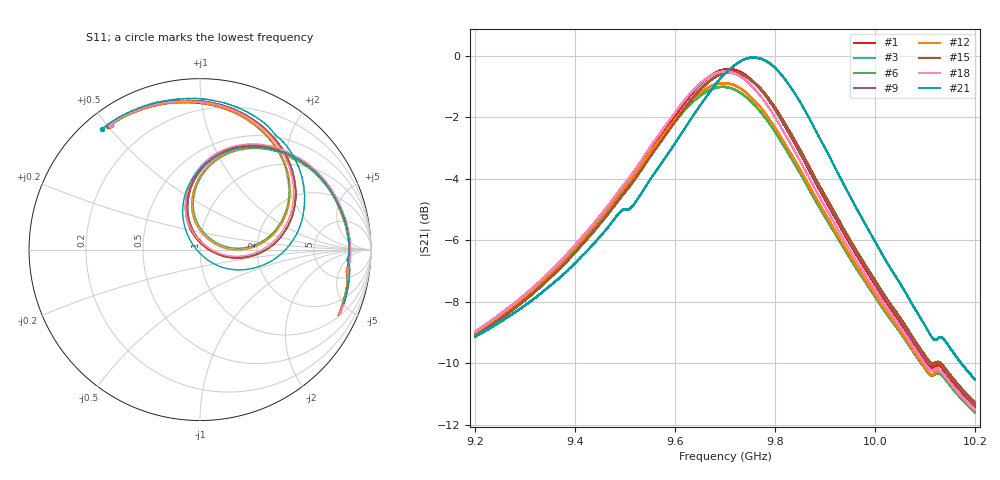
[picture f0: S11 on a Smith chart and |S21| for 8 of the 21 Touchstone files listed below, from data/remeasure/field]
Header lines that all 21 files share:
!Agilent Technologies,N5242A,MY51221714,A.09.90.19
!Agilent N5242A: A.09.90.19
!Correction: S11(Full 2 Port(1,2))
!S21(Full 2 Port(1,2))
!S12(Full 2 Port(1,2))
!S22(Full 2 Port(1,2))
!S2P File: Measurements: S11, S21, S12, S22:
# Hz S  dB  R 50
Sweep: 9.2 GHz to 10.2 GHz
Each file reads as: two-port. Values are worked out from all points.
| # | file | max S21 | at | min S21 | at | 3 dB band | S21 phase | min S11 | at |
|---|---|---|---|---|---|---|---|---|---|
| 1 | b0_1.s2p | -0.43 dB | 9.706 GHz | -11.4 dB | 10.2 GHz | 9.537 GHz-9.859 GHz | -112 deg at 9.7 GHz | -30.8 dB | 9.708 GHz |
| 2 | b0_2.s2p | -0.43 dB | 9.706 GHz | -11.4 dB | 10.2 GHz | 9.537 GHz-9.858 GHz | -112 deg at 9.7 GHz | -31.3 dB | 9.708 GHz |
| 3 | b12_1.s2p | -0.52 dB | 9.715 GHz | -11.3 dB | 10.2 GHz | 9.539 GHz-9.864 GHz | -110 deg at 9.7 GHz | -28.3 dB | 9.713 GHz |
| 4 | b12_2.s2p | -1.43 dB | 9.679 GHz | -11.8 dB | 10.2 GHz | 9.491 GHz-9.851 GHz | -120 deg at 9.7 GHz | -19.3 dB | 9.684 GHz |
| 5 | b13_1.s2p | -0.52 dB | 9.712 GHz | -11.3 dB | 10.2 GHz | 9.542 GHz-9.866 GHz | -110 deg at 9.7 GHz | -28.8 dB | 9.716 GHz |
| 6 | b13_2.s2p | -1.00 dB | 9.696 GHz | -11.6 dB | 10.2 GHz | 9.514 GHz-9.856 GHz | -116 deg at 9.7 GHz | -21.2 dB | 9.698 GHz |
| 7 | b14_1.s2p | -0.52 dB | 9.716 GHz | -11.3 dB | 10.2 GHz | 9.542 GHz-9.866 GHz | -109 deg at 9.7 GHz | -28.9 dB | 9.716 GHz |
| 8 | b14_2.s2p | -0.77 dB | 9.701 GHz | -11.5 dB | 10.2 GHz | 9.523 GHz-9.856 GHz | -115 deg at 9.7 GHz | -23.7 dB | 9.702 GHz |
| 9 | b15_1.s2p | -0.52 dB | 9.715 GHz | -11.3 dB | 10.2 GHz | 9.54 GHz-9.865 GHz | -110 deg at 9.7 GHz | -28.4 dB | 9.714 GHz |
| 10 | b15_2.s2p | -0.92 dB | 9.692 GHz | -11.7 dB | 10.2 GHz | 9.512 GHz-9.852 GHz | -117 deg at 9.7 GHz | -21.7 dB | 9.695 GHz |
| 11 | b16_1.s2p | -0.51 dB | 9.71 GHz | -11.3 dB | 10.2 GHz | 9.541 GHz-9.865 GHz | -110 deg at 9.7 GHz | -29.1 dB | 9.714 GHz |
| 12 | b16_2.s2p | -0.88 dB | 9.696 GHz | -11.5 dB | 10.2 GHz | 9.518 GHz-9.857 GHz | -115 deg at 9.7 GHz | -22.3 dB | 9.699 GHz |
| 13 | b17_1.s2p | -0.51 dB | 9.707 GHz | -11.3 dB | 10.2 GHz | 9.538 GHz-9.863 GHz | -111 deg at 9.7 GHz | -29.0 dB | 9.712 GHz |
| 14 | b17_2.s2p | -1.14 dB | 9.691 GHz | -11.7 dB | 10.2 GHz | 9.505 GHz-9.852 GHz | -118 deg at 9.7 GHz | -20.4 dB | 9.692 GHz |
| 15 | b18_1.s2p | -0.52 dB | 9.712 GHz | -11.3 dB | 10.2 GHz | 9.541 GHz-9.866 GHz | -110 deg at 9.7 GHz | -29.3 dB | 9.714 GHz |
| 16 | b18_2.s2p | -0.51 dB | 9.706 GHz | -11.4 dB | 10.2 GHz | 9.537 GHz-9.861 GHz | -111 deg at 9.7 GHz | -28.8 dB | 9.71 GHz |
| 17 | c1_1.s2p | -0.51 dB | 9.7 GHz | -11.5 dB | 10.2 GHz | 9.529 GHz-9.853 GHz | -114 deg at 9.7 GHz | -28.3 dB | 9.703 GHz |
| 18 | c1_2.s2p | -0.51 dB | 9.699 GHz | -11.5 dB | 10.2 GHz | 9.528 GHz-9.853 GHz | -114 deg at 9.7 GHz | -28.7 dB | 9.702 GHz |
| 19 | c2_1.s2p | -0.53 dB | 9.706 GHz | -11.5 dB | 10.2 GHz | 9.531 GHz-9.855 GHz | -113 deg at 9.7 GHz | -28.1 dB | 9.703 GHz |
| 20 | c2_2.s2p | -0.70 dB | 9.695 GHz | -11.7 dB | 10.2 GHz | 9.517 GHz-9.847 GHz | -117 deg at 9.7 GHz | -24.7 dB | 9.693 GHz |
| 21 | fp_3.95.s2p | -0.05 dB | 9.759 GHz | -10.5 dB | 10.2 GHz | 9.592 GHz-9.901 GHz | -93 deg at 9.7 GHz | -36.8 dB | 9.756 GHz |
